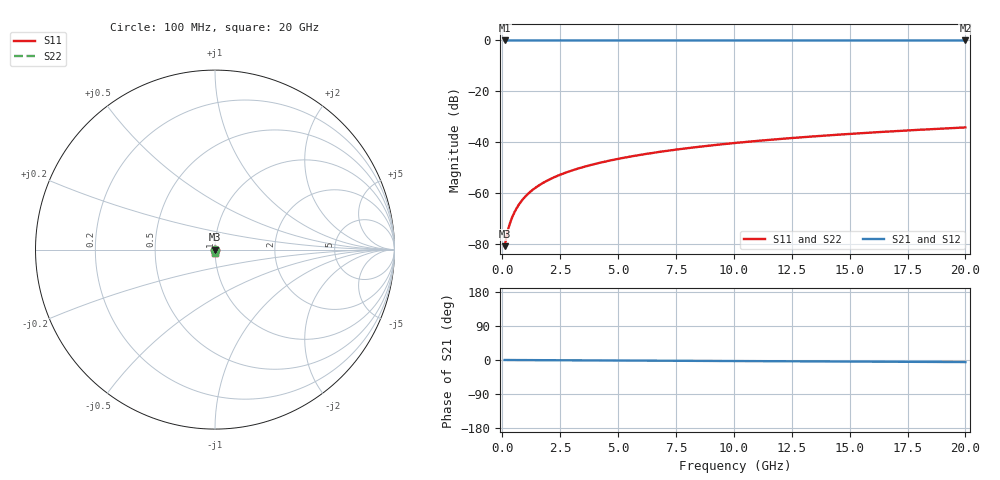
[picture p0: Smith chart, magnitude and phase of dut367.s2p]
! Touchstone file exported from HFSS 2026.1.0
!  File:  C:/ffzhzh/LocalFiles/Ansys_Project_Files/temp_train_TSV_367_1783019446_46388.aedt
!  Generated:  03:12:32 AM Jul  3, 2026
!  Design:  TSV
!  Project:  temp_train_TSV_367_1783019446_46388
! Variables:
!  h_bsmrdl = 2um
!  h_ox = 20um
!  h_rdl = 5um
!  h_sub = 50.47um
!  h_tmrdl = 5um
!  h_tsv = 50.47um
!  h_via = 3um
!  l_bsmrdl = 300um
!  l_sub = 428.46um
!  l_tmrdl = 200um
!  m_sub = 200um
!  pitch = 46.62um
!  r_tsv = 14.23um
!  s_tmrdl = 10um
!  w_bsmrdl = 18um
!  w_sub = 500um
!  w_tmrdl = 12um
!  x_tsv_center1 = 206um
!  x_tsv_center2 = 524um
!  x_tsv_center3 = 736um
!  x_tsv_center4 = 1054um
!  x_tsv_center5 = 1266um
!  x_tsv_center6 = 1584um
# GHz S MA R 50.000000
! Terminal data exported
! Port[1] = TSV1_1_T1
! Port[2] = TSV1_1_T2
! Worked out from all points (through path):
!   200 points, 100 MHz to 20 GHz, reference 50 ohm
!   highest |S21| = 0.00 dB at 100 MHz (marker M1); lowest = 0.0 dB at 20 GHz (marker M2)
!   lowest |S11| = -80.9 dB at 100 MHz (marker M3), VSWR 1.00, Z = 50 - j0.0069 ohm
!   |S11| at or under -10 dB: start of sweep to end of sweep
!   |S22| runs from -80.9 to -34.2 dB; largest |S21 - S12| = 2.1e-15
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0.1  9.029e-05 -49.8  0.9999 -0.0  0.9999 -0.0  9.029e-05 -49.8
! Gamma 0 0 0 0
! Port Impedance 50 0 50 0
0.2  0.0001557 -64.4  0.9999 -0.1  0.9999 -0.1  0.0001557 -64.4
0.3  0.0002305 -69.6  0.9999 -0.1  0.9999 -0.1  0.0002305 -69.6
0.4  0.0003113 -72.1  0.9999 -0.1  0.9999 -0.1  0.0003113 -72.1
0.5  0.0003968 -73.7  0.9999 -0.1  0.9999 -0.1  0.0003968 -73.7
0.6  0.0004858 -74.9  0.9999 -0.2  0.9999 -0.2  0.0004858 -74.9
0.8  0.0006704 -76.9  0.9998 -0.2  0.9998 -0.2  0.0006704 -76.9
1.1  0.0009547 -79.1  0.9998 -0.3  0.9998 -0.3  0.0009547 -79.1
1.3  0.001146 -80.3  0.9998 -0.4  0.9998 -0.4  0.001146 -80.3
1.5  0.001337 -81.2  0.9998 -0.4  0.9998 -0.4  0.001337 -81.2
1.8  0.001623 -82.4  0.9998 -0.5  0.9998 -0.5  0.001623 -82.4
2.1  0.00191 -83.2  0.9998 -0.6  0.9998 -0.6  0.00191 -83.2
2.7  0.002483 -84.5  0.9997 -0.7  0.9997 -0.7  0.002483 -84.5
3.5  0.003249 -85.6  0.9997 -1.0  0.9997 -1.0  0.003249 -85.6
4.2  0.003924 -86.3  0.9997 -1.2  0.9997 -1.2  0.003924 -86.3
5  0.004698 -87.0  0.9996 -1.4  0.9996 -1.4  0.004698 -87.0
6.8  0.006454 -88.1  0.9996 -1.9  0.9996 -1.9  0.006454 -88.1
8.3  0.007927 -88.9  0.9995 -2.3  0.9995 -2.3  0.007927 -88.9
10.1  0.009699 -89.7  0.9994 -2.8  0.9994 -2.8  0.009698 -89.7
13.4  0.01296 -91.0  0.9993 -3.7  0.9993 -3.7  0.01296 -91.0
16.7  0.01622 -92.2  0.9992 -4.6  0.9992 -4.6  0.01622 -92.2
20  0.0195 -93.3  0.9991 -5.5  0.9991 -5.5  0.0195 -93.3
